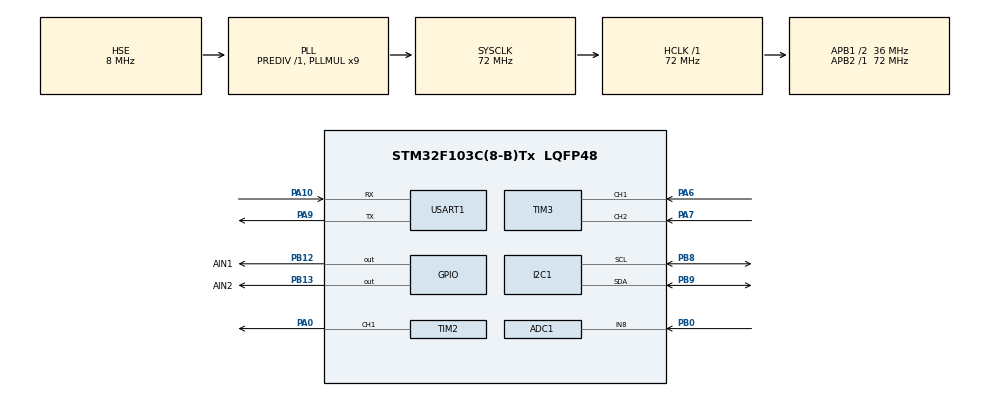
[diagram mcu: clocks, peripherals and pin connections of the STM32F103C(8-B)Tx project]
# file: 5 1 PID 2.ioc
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ADC1.Channel-0\#ChannelRegularConversion=ADC_CHANNEL_8
ADC1.ContinuousConvMode=ENABLE
ADC1.ExternalTrigConv=ADC_SOFTWARE_START
ADC1.NbrOfConversionFlag=1
ADC1.Rank-0\#ChannelRegularConversion=1
ADC1.SamplingTime-0\#ChannelRegularConversion=ADC_SAMPLETIME_71CYCLES_5
ADC1.master=1
Dma.ADC1.2.Direction=DMA_PERIPH_TO_MEMORY
Dma.ADC1.2.Instance=DMA1_Channel1
Dma.ADC1.2.MemDataAlignment=DMA_MDATAALIGN_HALFWORD
Dma.ADC1.2.MemInc=DMA_MINC_ENABLE
Dma.ADC1.2.Mode=DMA_CIRCULAR
Dma.ADC1.2.PeriphDataAlignment=DMA_PDATAALIGN_HALFWORD
Dma.ADC1.2.PeriphInc=DMA_PINC_DISABLE
Dma.ADC1.2.Priority=DMA_PRIORITY_LOW
Dma.Request0=USART1_RX
Dma.Request1=USART1_TX
Dma.Request2=ADC1
Dma.USART1_RX.0.Direction=DMA_PERIPH_TO_MEMORY
Dma.USART1_RX.0.Instance=DMA1_Channel5
Dma.USART1_RX.0.MemDataAlignment=DMA_MDATAALIGN_BYTE
Dma.USART1_RX.0.MemInc=DMA_MINC_ENABLE
Dma.USART1_RX.0.Mode=DMA_NORMAL
Dma.USART1_RX.0.PeriphDataAlignment=DMA_PDATAALIGN_BYTE
Dma.USART1_RX.0.PeriphInc=DMA_PINC_DISABLE
Dma.USART1_RX.0.Priority=DMA_PRIORITY_LOW
Dma.USART1_TX.1.Direction=DMA_MEMORY_TO_PERIPH
Dma.USART1_TX.1.Instance=DMA1_Channel4
Dma.USART1_TX.1.MemDataAlignment=DMA_MDATAALIGN_BYTE
Dma.USART1_TX.1.MemInc=DMA_MINC_ENABLE
Dma.USART1_TX.1.Mode=DMA_NORMAL
Dma.USART1_TX.1.PeriphDataAlignment=DMA_PDATAALIGN_BYTE
Dma.USART1_TX.1.PeriphInc=DMA_PINC_DISABLE
Dma.USART1_TX.1.Priority=DMA_PRIORITY_LOW
FREERTOS.Tasks01=defaultTask,24,128,StartDefaultTask,Default,NULL,Dynamic,NULL,NULL
I2C1.I2C_Mode=I2C_Fast
Mcu.Family=STM32F1
Mcu.Name=STM32F103C(8-B)Tx
Mcu.Package=LQFP48
NVIC.ADC1_2_IRQn=true\:5\:0\:false\:false\:true\:true\:true\:true\:true
NVIC.DMA1_Channel1_IRQn=true\:5\:0\:false\:false\:true\:true\:false\:true\:true
NVIC.DMA1_Channel4_IRQn=true\:5\:0\:false\:false\:true\:true\:false\:true\:true
NVIC.DMA1_Channel5_IRQn=true\:5\:0\:false\:false\:true\:true\:false\:true\:true
NVIC.PriorityGroup=NVIC_PRIORITYGROUP_4
NVIC.TIM1_UP_IRQn=true\:5\:0\:false\:false\:true\:true\:true\:true\:true
NVIC.TIM4_IRQn=true\:15\:0\:false\:false\:true\:false\:false\:true\:true
NVIC.TimeBase=TIM4_IRQn
NVIC.TimeBaseIP=TIM4
NVIC.USART1_IRQn=true\:5\:0\:false\:false\:true\:true\:false\:true\:true
PA0-WKUP.Signal=S_TIM2_CH1_ETR
PA10.Mode=Asynchronous
PA10.Signal=USART1_RX
PA13.Mode=Serial_Wire
PA13.Signal=SYS_JTMS-SWDIO
PA14.Mode=Serial_Wire
PA14.Signal=SYS_JTCK-SWCLK
PA6.Signal=S_TIM3_CH1
PA7.Signal=S_TIM3_CH2
PA9.Mode=Asynchronous
PA9.Signal=USART1_TX
PB0.Signal=ADCx_IN8
PB12.GPIO_Label=AIN1
PB12.Signal=GPIO_Output
PB13.GPIO_Label=AIN2
PB13.Signal=GPIO_Output
PB8.Mode=I2C
PB8.Signal=I2C1_SCL
PB9.Mode=I2C
PB9.Signal=I2C1_SDA
PC14-OSC32_IN.Mode=LSE-External-Oscillator
PC14-OSC32_IN.Signal=RCC_OSC32_IN
PC15-OSC32_OUT.Mode=LSE-External-Oscillator
PC15-OSC32_OUT.Signal=RCC_OSC32_OUT
PD0-OSC_IN.Mode=HSE-External-Oscillator
PD0-OSC_IN.Signal=RCC_OSC_IN
PD1-OSC_OUT.Mode=HSE-External-Oscillator
PD1-OSC_OUT.Signal=RCC_OSC_OUT
ProjectManager.HeapSize=0x200
ProjectManager.StackSize=0x400
ProjectManager.TargetToolchain=MDK-ARM V5.32
RCC.ADCPresc=RCC_ADCPCLK2_DIV6
RCC.AHBFreq_Value=72000000
RCC.APB1CLKDivider=RCC_HCLK_DIV2
RCC.APB1Freq_Value=36000000
RCC.APB1TimFreq_Value=72000000
RCC.APB2Freq_Value=72000000
RCC.APB2TimFreq_Value=72000000
RCC.HCLKFreq_Value=72000000
RCC.PLLMUL=RCC_PLL_MUL9
RCC.PLLSourceVirtual=RCC_PLLSOURCE_HSE
RCC.SYSCLKFreq_VALUE=72000000
RCC.SYSCLKSource=RCC_SYSCLKSOURCE_PLLCLK
RCC.USBFreq_Value=72000000
SH.ADCx_IN8.0=ADC1_IN8,IN8
SH.S_TIM2_CH1_ETR.0=TIM2_CH1,PWM Generation1 CH1
SH.S_TIM3_CH1.0=TIM3_CH1,Encoder_Interface
SH.S_TIM3_CH2.0=TIM3_CH2,Encoder_Interface
TIM1.Period=10-1
TIM1.Prescaler=7200-1
TIM2.Channel-PWM\ Generation1\ CH1=TIM_CHANNEL_1
TIM2.Period=100-1
TIM2.Prescaler=72-1
TIM3.EncoderMode=TIM_ENCODERMODE_TI12
TIM3.IC1Filter=0x6
TIM3.IC2Filter=0x6
TIM3.IC2Polarity=TIM_ICPOLARITY_FALLING
USART1.VirtualMode=VM_ASYNC
VP_FREERTOS_VS_CMSIS_V2.Mode=CMSIS_V2
VP_SYS_VS_tim4.Mode=TIM4
VP_TIM1_VS_ClockSourceINT.Mode=Internal
board=custom

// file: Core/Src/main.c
/* USER CODE BEGIN Header */
/**
  ******************************************************************************
  * @file           : main.c
  * @brief          : Main program body
  ******************************************************************************
  * @attention
  *
  * Copyright (c) 2025 STMicroelectronics.
  * All rights reserved.
  *
  * This software is licensed under terms that can be found in the LICENSE file
  * in the root directory of this software component.
  * If no LICENSE file comes with this software, it is provided AS-IS.
  *
  ******************************************************************************
  */
/* USER CODE END Header */
#include "main.h"
#include "cmsis_os.h"
#include "adc.h"
#include "dma.h"
#include "i2c.h"
#include "tim.h"
#include "usart.h"
#include "gpio.h"

void SystemClock_Config(void);
void MX_FREERTOS_Init(void);

int main(void)
{

  /* MCU Configuration--------------------------------------------------------*/

  /* Reset of all peripherals, Initializes the Flash interface and the Systick. */
  HAL_Init();

  /* Configure the system clock */
  SystemClock_Config();

  /* Initialize all configured peripherals */
  MX_GPIO_Init();
  MX_DMA_Init();
  MX_I2C1_Init();
  MX_TIM2_Init();
  MX_TIM3_Init();
  MX_USART1_UART_Init();
  MX_TIM1_Init();
  MX_ADC1_Init();

  /* Init scheduler */
  osKernelInitialize();  /* Call init function for freertos objects (in cmsis_os2.c) */
  MX_FREERTOS_Init();

  /* Start scheduler */
  osKernelStart();

  /* We should never get here as control is now taken by the scheduler */

  /* Infinite loop */
  while (1)
  {

  }
}

void SystemClock_Config(void)
{
  RCC_OscInitTypeDef RCC_OscInitStruct = {0};
  RCC_ClkInitTypeDef RCC_ClkInitStruct = {0};
  RCC_PeriphCLKInitTypeDef PeriphClkInit = {0};

  /** Initializes the RCC Oscillators according to the specified parameters
  * in the RCC_OscInitTypeDef structure.
  */
  RCC_OscInitStruct.OscillatorType = RCC_OSCILLATORTYPE_HSE;
  RCC_OscInitStruct.HSEState = RCC_HSE_ON;
  RCC_OscInitStruct.HSEPredivValue = RCC_HSE_PREDIV_DIV1;
  RCC_OscInitStruct.HSIState = RCC_HSI_ON;
  RCC_OscInitStruct.PLL.PLLState = RCC_PLL_ON;
  RCC_OscInitStruct.PLL.PLLSource = RCC_PLLSOURCE_HSE;
  RCC_OscInitStruct.PLL.PLLMUL = RCC_PLL_MUL9;
  if (HAL_RCC_OscConfig(&RCC_OscInitStruct) != HAL_OK)
  {
    Error_Handler();
  }

  /** Initializes the CPU, AHB and APB buses clocks
  */
  RCC_ClkInitStruct.ClockType = RCC_CLOCKTYPE_HCLK|RCC_CLOCKTYPE_SYSCLK
                              |RCC_CLOCKTYPE_PCLK1|RCC_CLOCKTYPE_PCLK2;
  RCC_ClkInitStruct.SYSCLKSource = RCC_SYSCLKSOURCE_PLLCLK;
  RCC_ClkInitStruct.AHBCLKDivider = RCC_SYSCLK_DIV1;
  RCC_ClkInitStruct.APB1CLKDivider = RCC_HCLK_DIV2;
  RCC_ClkInitStruct.APB2CLKDivider = RCC_HCLK_DIV1;

  if (HAL_RCC_ClockConfig(&RCC_ClkInitStruct, FLASH_LATENCY_2) != HAL_OK)
  {
    Error_Handler();
  }
  PeriphClkInit.PeriphClockSelection = RCC_PERIPHCLK_ADC;
  PeriphClkInit.AdcClockSelection = RCC_ADCPCLK2_DIV6;
  if (HAL_RCCEx_PeriphCLKConfig(&PeriphClkInit) != HAL_OK)
  {
    Error_Handler();
  }
}

void Error_Handler(void)
{
  __disable_irq();
  while (1)
  {
  }
}

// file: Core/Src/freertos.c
/* USER CODE BEGIN Header */
/**
  ******************************************************************************
  * File Name          : freertos.c
  * Description        : Code for freertos applications
  ******************************************************************************
  * @attention
  *
  * Copyright (c) 2025 STMicroelectronics.
  * All rights reserved.
  *
  * This software is licensed under terms that can be found in the LICENSE file
  * in the root directory of this software component.
  * If no LICENSE file comes with this software, it is provided AS-IS.
  *
  ******************************************************************************
  */
/* USER CODE END Header */

#include "FreeRTOS.h"
#include "task.h"
#include "main.h"
#include "cmsis_os.h"

/* USER CODE BEGIN Includes */
#include <usart.h>
#include <data.h>
#include <string.h>
#include <encoder.h>
#include <stdio.h>
#include <screen.h>
#include <PID.h>
#include <motor.h>
#include <tim.h>
#include <adc.h>
#include <attitude.h>
/* USER CODE END Includes */

/* USER CODE BEGIN PTD */
void command_process(uint8_t* data,uint16_t length);
void OLED(void *ptr);
void Attitude_ud(void *ptr);
void Position_ud(void *ptr);
/* USER CODE END PTD */

/* USER CODE BEGIN Variables */
osThreadId_t OLEDHandle;
osThreadId_t Attitude_udHandle;
osThreadId_t Position_udHandle;

PID_t Spead = {
  .Kp = 0,
  .Ki = 0,
  .Kd = 0,
};
PID_t Location = {
  .Kp = 0.0,
  .Ki = 0,
  .Kd = 0,
  .target = 0.0,
};
PID_t Attitude = {
  .Kp = 2.569,
  .Ki = 0.00088,
  .Kd = 5.075,
};
/* USER CODE END Variables */
/* Definitions for defaultTask */
osThreadId_t defaultTaskHandle;
const osThreadAttr_t defaultTask_attributes = {
  .name = "defaultTask",
  .stack_size = 128 * 4,
  .priority = (osPriority_t) osPriorityNormal,
};

void StartDefaultTask(void *argument);

void MX_FREERTOS_Init(void); /* (MISRA C 2004 rule 8.1) */

void MX_FREERTOS_Init(void) {
  /* USER CODE BEGIN Init */
  OLED_Init();
  OLED_ON();
  OLED_CLS();
  HAL_UARTEx_ReceiveToIdle_DMA (&huart1,buff,sizeof(buff));
  HAL_TIM_PWM_Start(&htim2,TIM_CHANNEL_1);
  HAL_TIM_Encoder_Start(&htim3,TIM_CHANNEL_ALL);
  HAL_TIM_Base_Start_IT(&htim1);
  HAL_ADC_Start(&hadc1);
  HAL_ADC_Start_DMA(&hadc1, (uint32_t*)adc_buffer, 1);
  package[channel*4+0]=0x00;
  package[channel*4+1]=0x00;
  package[channel*4+2]=0x80;
  package[channel*4+3]=0x7f;
  /* USER CODE END Init */

  /* Create the thread(s) */
  /* creation of defaultTask */
  defaultTaskHandle = osThreadNew(StartDefaultTask, NULL, &defaultTask_attributes);

  /* USER CODE BEGIN RTOS_THREADS */
  OLEDHandle = osThreadNew(OLED,NULL,&(osThreadAttr_t){
    .name = "OLED",
    .stack_size = 1024,
    .priority = osPriorityNormal,
  });

  Attitude_udHandle = osThreadNew(Attitude_ud,NULL,&(osThreadAttr_t){
    .name = "Attitude_ud",
    .stack_size = 1024,
    .priority = osPriorityNormal,
  });

  Position_udHandle = osThreadNew(Position_ud,NULL,&(osThreadAttr_t){
    .name = "Position_ud",
    .stack_size = 1024,
    .priority = osPriorityNormal,
  });
  /* USER CODE END RTOS_THREADS */

}

void StartDefaultTask(void *argument)
{
  for(;;)
  {
    osDelay(1);
  }
}

/* USER CODE BEGIN Application */
void HAL_UARTEx_RxEventCallback(UART_HandleTypeDef *huart, uint16_t Size)
{
  if(huart ->Instance == USART1 ){
    command_process(buff,Size);
    HAL_UARTEx_ReceiveToIdle_DMA (&huart1,buff,sizeof(buff));  //命令处理
  }
}

void command_process(uint8_t* data,uint16_t length){
  float value = 0;
  char command[20];
  data[length]='\0';
  sscanf((char*)data,"%s %f",command,&value);
  if(strcmp(command,"Location")==0){
    Location.target = value;
  }
}

void HAL_TIM_PeriodElapsedCallback(TIM_HandleTypeDef *htim){
  if (htim->Instance == TIM4)
  {
    HAL_IncTick();
  }

  if(htim ->Instance == TIM1){
    static int count1 = 0;
    static int count2 = 0;
    count1++;
    count2++;
    if(count1 >= 5){
    Spead.actual = (float)Get_Cur_Spead()*Spead_trans; //单位转换,速度单位为弧度每秒,通过减速比换算将磁铁的旋转转换为圆盘的旋转,将40ms的平均速度认为是瞬时速度
    Location.actual +=Spead.actual*0.04f; //累加为位置,单位为弧度
    Location.nor_actual = normalize_Position(Location.actual);
    Location.nor_target = normalize_Position(Location.target);
    count1 = 0;
    }

    if(count2 >= 5){
    Attitude.target = Location.output + center_attitude;
    Attitude.nor_target = normalize_Attitude(Attitude.target);
    Attitude.actual = (Get_Attitude() * 6.28318f) / 4095.0f;
    Attitude.nor_actual = normalize_Attitude(Attitude.actual);
    count2 = 0;
    }
    //当摆杆超过可调整范围的时候放弃PID调控
    if(Attitude.actual < 2.1 || Attitude.actual > 4.1){
    flag_Attitude = 0;  // 停止PID控制
    Attitude.output = 0;
    PWM_SET(0);
    }
    else {
      flag_Attitude = 1;  // 允许PID控制
    }
  }
}

void OLED(void *ptr){
  char charbuff[32];
  while (1)
  {
    sprintf(charbuff,"Spead:%+06.1f",Spead.actual);
    OLED_ShowString(0,0,charbuff);
    sprintf(charbuff,"Location:%+06.1f",Location.actual);
    OLED_ShowString(0,2,charbuff);
    sprintf(charbuff,"output:%+06.1f",Attitude.output);
    OLED_ShowString(0,4,charbuff);
    sprintf(charbuff,"attitude:%+06.1f",Attitude.actual);
    OLED_ShowString(0,6,charbuff);

    //发送数据给上位机
    memcpy(package+4*0,&Attitude.actual,4);
    memcpy(package+4*1,&Spead.actual,4);
    HAL_UART_Transmit_DMA(&huart1,package,channel*4+4);
    osDelay(10);
  }

}

void Attitude_ud(void *ptr){
  while (1)
  {
    if(flag_Attitude){
    PID(&Attitude);
    Attitude.output = denormalize_PWM(Attitude.nor_output);
    PWM_SET((int8_t)Attitude.output);
    }
  }
}

void Position_ud(void *ptr){
  while(1){
    PID(&Location);
    Location.output = denormalize_Attitude(Location.nor_output);
    if(Location.output > 0.17453f){
      Location.output = 0.17453f;
    }
    else if(Location.output < -0.17453f){
      Location.output = -0.17453f;
    }
  }
}
/* USER CODE END Application */
